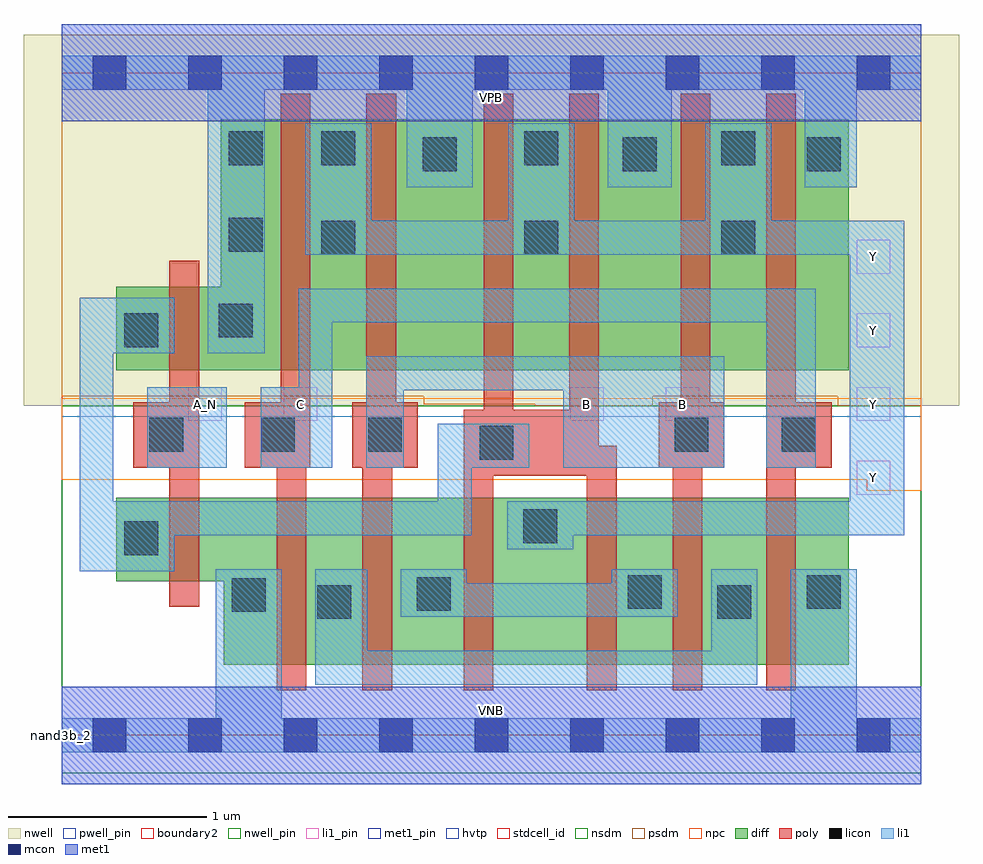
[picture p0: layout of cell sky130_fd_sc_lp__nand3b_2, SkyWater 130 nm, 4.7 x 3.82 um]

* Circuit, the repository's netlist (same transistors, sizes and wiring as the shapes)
* Copyright 2020 The SkyWater PDK Authors
*
* Licensed under the Apache License, Version 2.0 (the "License");
* you may not use this file except in compliance with the License.
* You may obtain a copy of the License at
*
*     https://www.apache.org/licenses/LICENSE-2.0
*
* Unless required by applicable law or agreed to in writing, software
* distributed under the License is distributed on an "AS IS" BASIS,
* WITHOUT WARRANTIES OR CONDITIONS OF ANY KIND, either express or implied.
* See the License for the specific language governing permissions and
* limitations under the License.
*
* SPDX-License-Identifier: Apache-2.0

.SUBCKT sky130_fd_sc_lp__nand3b_2 A_N B C VGND VNB VPB VPWR Y
*.PININFO A_N:I B:I C:I VGND:I VNB:I VPB:I VPWR:I Y:O
MMP0 Y A VPWR VPB sky130_fd_pr__pfet_01v8_hvt m=2 w=1.26U l=0.15U mult=1 sa=0.265
+ sb=0.265 sd=0.28 area=0.063 perim=1.14
MMP1 Y B VPWR VPB sky130_fd_pr__pfet_01v8_hvt m=2 w=1.26U l=0.15U mult=1 sa=0.265
+ sb=0.265 sd=0.28 area=0.063 perim=1.14
MMP2 Y C VPWR VPB sky130_fd_pr__pfet_01v8_hvt m=2 w=1.26U l=0.15U mult=1 sa=0.265
+ sb=0.265 sd=0.28 area=0.063 perim=1.14
MMIP0 A A_N VPWR VPB sky130_fd_pr__pfet_01v8_hvt m=1 w=0.42U l=0.15U mult=1 sa=0.265
+ sb=0.265 sd=0.28 area=0.063 perim=1.14
MMN0 Y A sndA VNB sky130_fd_pr__nfet_01v8 m=2 w=0.84U l=0.15U mult=1 sa=0.265 sb=0.265
+ sd=0.28 area=0.063 perim=1.14
MMN1 sndA B sndB VNB sky130_fd_pr__nfet_01v8 m=2 w=0.84U l=0.15U mult=1 sa=0.265
+ sb=0.265 sd=0.28 area=0.063 perim=1.14
MMN2 sndB C VGND VNB sky130_fd_pr__nfet_01v8 m=2 w=0.84U l=0.15U mult=1 sa=0.265
+ sb=0.265 sd=0.28 area=0.063 perim=1.14
MMIN0 A A_N VGND VNB sky130_fd_pr__nfet_01v8 m=1 w=0.42U l=0.15U mult=1 sa=0.265
+ sb=0.265 sd=0.28 area=0.063 perim=1.14
.ENDS sky130_fd_sc_lp__nand3b_2

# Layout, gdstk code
import gdstk
lib = gdstk.Library(unit=1e-6, precision=1e-09)
def R(c, l, rs):  # rectangles x0, y0, x1, y1
    for r in rs: c.add(gdstk.rectangle(r[:2], r[2:], *l))
def A(c, l, x, y, w, h, nx, ny, dx, dy):  # array of equal rectangles
    R(c, l, [(x+i*dx, y+j*dy, x+i*dx+w, y+j*dy+h) for i in range(nx) for j in range(ny)])
def P(c, l, *ps):  # polygons
    for p in ps: c.add(gdstk.Polygon(p, *l))
nwell_pin = (64, 16)
nwell = (64, 20)
diff = (65, 20)
poly = (66, 20)
licon = (66, 44)
li1_pin = (67, 16)
li1 = (67, 20)
mcon = (67, 44)
met1_pin = (68, 16)
met1 = (68, 20)
hvtp = (78, 44)
stdcell_id = (81, 4)
nsdm = (93, 44)
psdm = (94, 20)
npc = (95, 20)
pwell_pin = (122, 16)
boundary2 = (236, 0)

sky130_fd_sc_lp__nand3b_ = lib.new_cell('sky130_fd_sc_lp__nand3b_2')
R(sky130_fd_sc_lp__nand3b_, nwell_pin, [(0,3.085,4.32,3.33)])
R(sky130_fd_sc_lp__nand3b_, nwell, [(-0.19,1.655,4.51,3.52)])
P(sky130_fd_sc_lp__nand3b_, diff, [(3.955,3.095),(0.8,3.095),(0.8,2.255),(0.275,2.255),(0.275,1.835),(3.955,1.835)],
  [(3.955,1.195),(0.275,1.195),(0.275,0.775),(0.815,0.775),(0.815,0.355),(3.955,0.355)])
P(sky130_fd_sc_lp__nand3b_, poly, [(0.69,2.385),(0.54,2.385),(0.54,1.675),(0.36,1.675),(0.36,1.345),(0.54,1.345),(0.54,0.645),(0.69,0.645)],
  [(1.25,3.225),(1.1,3.225),(1.1,1.675),(0.92,1.675),(0.92,1.345),(1.08,1.345),(1.08,0.225),(1.23,0.225),(1.23,1.345),(1.25,1.345)],
  [(1.79,1.675),(1.68,1.675),(1.68,3.225),(1.53,3.225),(1.53,1.675),(1.46,1.675),(1.46,1.345),(1.51,1.345),(1.51,0.225),(1.66,0.225),(1.66,1.345),(1.79,1.345)],
  [(2.79,1.455),(2.7,1.455),(2.7,3.225),(2.55,3.225),(2.55,1.635),(2.27,1.635),(2.27,3.225),(2.12,3.225),(2.12,1.635),(2.02,1.635),(2.02,0.225),(2.17,0.225),(2.17,1.305),(2.64,1.305),(2.64,0.225),(2.79,0.225)],
  [(3.33,1.675),(3.26,1.675),(3.26,3.225),(3.11,3.225),(3.11,1.675),(3,1.675),(3,1.345),(3.07,1.345),(3.07,0.225),(3.22,0.225),(3.22,1.345),(3.33,1.345)],
  [(3.87,1.675),(3.69,1.675),(3.69,3.225),(3.54,3.225),(3.54,0.225),(3.69,0.225),(3.69,1.345),(3.87,1.345)])
R(sky130_fd_sc_lp__nand3b_, licon, [(1.285,0.585,1.455,0.755), (3.295,0.585,3.465,0.755), (0.855,0.62,1.025,0.79), (1.785,0.625,1.955,0.795), (2.845,0.635,3.015,0.805), (3.745,0.635,3.915,0.805), (0.315,0.905,0.485,1.075), (2.32,0.965,2.49,1.135), (2.1,1.385,2.27,1.555), (0.44,1.425,0.61,1.595), (1,1.425,1.17,1.595), (1.54,1.425,1.71,1.595), (3.08,1.425,3.25,1.595), (3.62,1.425,3.79,1.595), (0.315,1.95,0.485,2.12), (0.79,2,0.96,2.17), (1.305,2.415,1.475,2.585), (2.325,2.415,2.495,2.585), (3.315,2.415,3.485,2.585), (0.84,2.43,1.01,2.6), (1.815,2.835,1.985,3.005), (2.82,2.835,2.99,3.005), (3.745,2.835,3.915,3.005), (0.84,2.865,1.01,3.035), (1.305,2.865,1.475,3.035), (2.325,2.865,2.495,3.035), (3.315,2.865,3.485,3.035)])
A(sky130_fd_sc_lp__nand3b_, li1_pin, 3.995, 1.21, 0.17, 0.17, 1, 4, 0, 0.37)
R(sky130_fd_sc_lp__nand3b_, li1_pin, [(0.635,1.58,0.805,1.75), (1.115,1.58,1.285,1.75), (2.555,1.58,2.725,1.75), (3.035,1.58,3.205,1.75)])
R(sky130_fd_sc_lp__nand3b_, li1, [(0.43,1.345,0.83,1.75)])
P(sky130_fd_sc_lp__nand3b_, li1, [(2.745,2.755),(2.745,3.245),(2.065,3.245),(2.065,2.755),(1.735,2.755),(1.735,3.245),(1.02,3.245),(1.02,1.92),(0.735,1.92),(0.735,3.245),(0,3.245),(0,3.415),(4.32,3.415),(4.32,3.245),(3.995,3.245),(3.995,2.755),(3.735,2.755),(3.735,3.245),(3.065,3.245),(3.065,2.755)],
  [(0.775,0.085),(0.775,0.835),(1.105,0.835),(1.105,0.085),(3.665,0.085),(3.665,0.835),(3.995,0.835),(3.995,0.085),(4.32,0.085),(4.32,-0.085),(0,-0.085),(0,0.085)],
  [(1.53,1.905),(3.33,1.905),(3.33,1.345),(2.52,1.345),(2.52,1.735),(1.72,1.735),(1.72,1.345),(1.53,1.345)],
  [(1.19,2.245),(3.79,2.245),(3.79,1.345),(3.54,1.345),(3.54,2.075),(1.36,2.075),(1.36,1.345),(1,1.345),(1,1.75),(1.19,1.75)],
  [(3.565,2.585),(4.235,2.585),(4.235,1.005),(2.57,1.005),(2.57,0.935),(2.24,0.935),(2.24,1.175),(3.96,1.175),(3.96,2.415),(1.225,2.415),(1.225,3.075),(1.555,3.075),(1.555,2.585),(2.245,2.585),(2.245,3.075),(2.575,3.075),(2.575,2.585),(3.235,2.585),(3.235,3.075),(3.565,3.075)],
  [(0.26,1.92),(0.26,1.175),(1.89,1.175),(1.89,1.565),(2.35,1.565),(2.35,1.345),(2.06,1.345),(2.06,1.005),(0.565,1.005),(0.565,0.825),(0.09,0.825),(0.09,2.2),(0.565,2.2),(0.565,1.92)],
  [(2.035,0.765),(2.765,0.765),(2.765,0.835),(3.095,0.835),(3.095,0.595),(1.705,0.595),(1.705,0.835),(2.035,0.835)],
  [(3.265,0.425),(3.265,0.835),(3.495,0.835),(3.495,0.255),(1.275,0.255),(1.275,0.835),(1.535,0.835),(1.535,0.425)])
A(sky130_fd_sc_lp__nand3b_, mcon, 0.155, -0.085, 0.17, 0.17, 9, 2, 0.48, 3.33)
R(sky130_fd_sc_lp__nand3b_, met1_pin, [(0,0,4.32,0.245), (0,3.085,4.32,3.33)])
R(sky130_fd_sc_lp__nand3b_, met1, [(0,-0.245,4.32,0.245), (0,3.085,4.32,3.575)])
R(sky130_fd_sc_lp__nand3b_, hvtp, [(0,1.6,4.32,3.33)])
R(sky130_fd_sc_lp__nand3b_, stdcell_id, [(0,0,4.32,3.33)])
R(sky130_fd_sc_lp__nand3b_, nsdm, [(0,-0.19,4.32,1.655)])
P(sky130_fd_sc_lp__nand3b_, psdm, [(4.32,3.52),(0,3.52),(0,1.705),(1.82,1.705),(1.82,1.665),(2.38,1.665),(2.38,1.655),(2.97,1.655),(2.97,1.705),(3.9,1.705),(3.9,1.655),(4.32,1.655)])
P(sky130_fd_sc_lp__nand3b_, npc, [(4.32,1.695),(0,1.695),(0,1.285),(4.045,1.285),(4.045,1.23),(4.32,1.23)])
R(sky130_fd_sc_lp__nand3b_, pwell_pin, [(0,0,4.32,0.245)])
R(sky130_fd_sc_lp__nand3b_, boundary2, [(0,0,4.32,3.33)])
sky130_fd_sc_lp__nand3b_.add(gdstk.Label('VNB', (2.16,0.123), layer=64, texttype=59))
sky130_fd_sc_lp__nand3b_.add(gdstk.Label('VPB', (2.16,3.208), layer=64, texttype=5))
sky130_fd_sc_lp__nand3b_.add(gdstk.Label('nand3b_2', (0,0), layer=83, texttype=44))
sky130_fd_sc_lp__nand3b_.add(gdstk.Label('VPWR', (2.16,3.208), layer=68, texttype=5))
sky130_fd_sc_lp__nand3b_.add(gdstk.Label('VGND', (2.16,0.123), layer=68, texttype=5))
sky130_fd_sc_lp__nand3b_.add(gdstk.Label('A_N', (0.72,1.665), layer=67, texttype=5))
sky130_fd_sc_lp__nand3b_.add(gdstk.Label('B', (2.64,1.665), layer=67, texttype=5))
sky130_fd_sc_lp__nand3b_.add(gdstk.Label('B', (3.12,1.665), layer=67, texttype=5))
sky130_fd_sc_lp__nand3b_.add(gdstk.Label('C', (1.2,1.665), layer=67, texttype=5))
sky130_fd_sc_lp__nand3b_.add(gdstk.Label('Y', (4.08,1.295), layer=67, texttype=5))
sky130_fd_sc_lp__nand3b_.add(gdstk.Label('Y', (4.08,1.665), layer=67, texttype=5))
sky130_fd_sc_lp__nand3b_.add(gdstk.Label('Y', (4.08,2.035), layer=67, texttype=5))
sky130_fd_sc_lp__nand3b_.add(gdstk.Label('Y', (4.08,2.405), layer=67, texttype=5))

lib.write_gds('sky130_fd_sc_lp__nand3b_2.gds')
